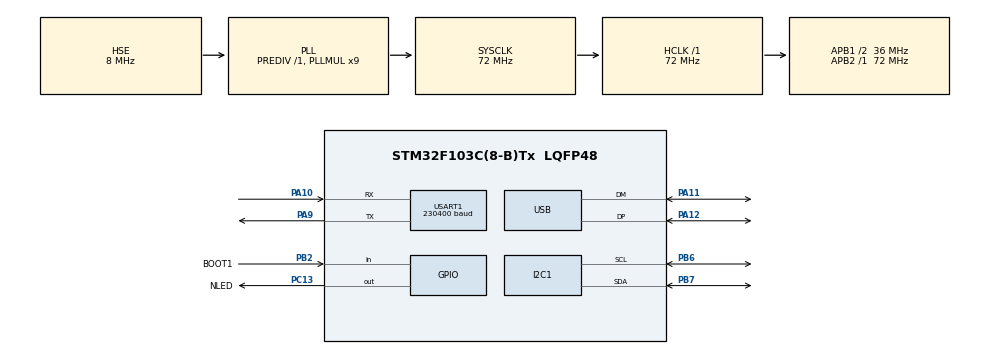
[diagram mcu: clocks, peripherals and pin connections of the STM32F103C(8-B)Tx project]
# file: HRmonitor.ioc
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I2C1.I2C_Mode=I2C_Fast
Mcu.Family=STM32F1
Mcu.Name=STM32F103C(8-B)Tx
Mcu.Package=LQFP48
NVIC.I2C1_ER_IRQn=true\:0\:0\:false\:false\:true\:true\:true
NVIC.I2C1_EV_IRQn=true\:0\:0\:false\:false\:true\:true\:true
NVIC.PriorityGroup=NVIC_PRIORITYGROUP_4
NVIC.TIM3_IRQn=true\:0\:0\:false\:false\:true\:true\:true
NVIC.USB_LP_CAN1_RX0_IRQn=true\:0\:0\:false\:false\:true\:false\:true
PA10.Mode=Asynchronous
PA10.Signal=USART1_RX
PA11.Mode=Device
PA11.Signal=USB_DM
PA12.Mode=Device
PA12.Signal=USB_DP
PA13.Mode=Serial_Wire
PA13.Signal=SYS_JTMS-SWDIO
PA14.Mode=Serial_Wire
PA14.Signal=SYS_JTCK-SWCLK
PA9.Mode=Asynchronous
PA9.Signal=USART1_TX
PB2.GPIO_Label=BOOT1
PB2.Signal=GPIO_Input
PB6.Mode=I2C
PB6.Signal=I2C1_SCL
PB7.Mode=I2C
PB7.Signal=I2C1_SDA
PC13-TAMPER-RTC.GPIO_Label=NLED
PC13-TAMPER-RTC.Signal=GPIO_Output
PD0-OSC_IN.Mode=HSE-External-Oscillator
PD0-OSC_IN.Signal=RCC_OSC_IN
PD1-OSC_OUT.Mode=HSE-External-Oscillator
PD1-OSC_OUT.Signal=RCC_OSC_OUT
ProjectManager.HeapSize=0x400
ProjectManager.StackSize=0x400
ProjectManager.TargetToolchain=Makefile
RCC.ADCPresc=RCC_ADCPCLK2_DIV6
RCC.AHBFreq_Value=72000000
RCC.APB1CLKDivider=RCC_HCLK_DIV2
RCC.APB1Freq_Value=36000000
RCC.APB1TimFreq_Value=72000000
RCC.APB2Freq_Value=72000000
RCC.APB2TimFreq_Value=72000000
RCC.HCLKFreq_Value=72000000
RCC.PLLMUL=RCC_PLL_MUL9
RCC.RCC_MCOSource=RCC_MCO1SOURCE_PLLCLK
RCC.SYSCLKFreq_VALUE=72000000
RCC.SYSCLKSource=RCC_SYSCLKSOURCE_PLLCLK
RCC.USBFreq_Value=48000000
RCC.USBPrescaler=RCC_USBCLKSOURCE_PLL_DIV1_5
TIM3.Period=599
TIM3.Prescaler=599
TIM3.TIM_MasterOutputTrigger=TIM_TRGO_UPDATE
USART1.BaudRate=230400
USART1.VirtualMode=VM_ASYNC
USB_DEVICE.CLASS_NAME_FS=CDC
USB_DEVICE.VirtualMode=Cdc
USB_DEVICE.VirtualModeFS=Cdc_FS
VP_CRC_VS_CRC.Mode=CRC_Activate
VP_TIM3_VS_ClockSourceINT.Mode=Internal
VP_USB_DEVICE_VS_USB_DEVICE_CDC_FS.Mode=CDC_FS
board=custom

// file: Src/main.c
/* USER CODE BEGIN Header */
/**
  ******************************************************************************
  * @file           : main.c
  * @brief          : Main program body
  ******************************************************************************
  * @attention
  *
  * <h2><center>&copy; Copyright (c) 2020 STMicroelectronics.
  * All rights reserved.</center></h2>
  *
  * This software component is licensed by ST under Ultimate Liberty license
  * SLA0044, the "License"; You may not use this file except in compliance with
  * the License. You may obtain a copy of the License at:
  *                             www.st.com/SLA0044
  *
  ******************************************************************************
  */
/* USER CODE END Header */

#include "main.h"
#include "crc.h"
#include "i2c.h"
#include "tim.h"
#include "usart.h"
#include "usb_device.h"
#include "gpio.h"

/* USER CODE BEGIN PV */
char textTxBuffer[500];
uint8_t rawMpu[14];
/* USER CODE END PV */

void SystemClock_Config(void);

int main(void)
{
    /* USER CODE BEGIN 1 */
    uint8_t mpuConfigTx, mpuConfigRx;
    /* USER CODE END 1 */

    /* MCU Configuration--------------------------------------------------------*/

    /* Reset of all peripherals, Initializes the Flash interface and the Systick. */
    HAL_Init();

    /* Configure the system clock */
    SystemClock_Config();

    /* Initialize all configured peripherals */
    MX_GPIO_Init();
    MX_CRC_Init();
    MX_USB_DEVICE_Init();
    MX_I2C1_Init();
    MX_USART1_UART_Init();
    MX_TIM3_Init();
    /* USER CODE BEGIN 2 */

    sprintf(textTxBuffer, "HRmonitor USART1 test\r");
    HAL_UART_Transmit(&huart1, (uint8_t *)textTxBuffer, strlen(textTxBuffer), 500);

    mpuConfigTx = 0b00000000;
    HAL_I2C_Mem_Write(&hi2c1, 0xD0, 0x6B, I2C_MEMADD_SIZE_8BIT, &mpuConfigTx, 1, 100);

    HAL_I2C_Mem_Read(&hi2c1, 0xD0, 0x75, I2C_MEMADD_SIZE_8BIT, &mpuConfigRx, 1, 100);
    // sprintf(txBuffer, "Slave Address: %x \r", mpuConfigRx);
    // HAL_UART_Transmit(&huart1, (uint8_t *)txBuffer, strlen(txBuffer), 500);

    HAL_I2C_Mem_Read(&hi2c1, 0xD0, 0x1A, I2C_MEMADD_SIZE_8BIT, &mpuConfigRx, 1, 100);
    // sprintf(txBuffer, "FIFO config: %x \r", mpuConfigRx);
    // HAL_UART_Transmit(&huart1, (uint8_t *)txBuffer, strlen(txBuffer), 500);

    mpuConfigTx = 0b00001000;
    HAL_I2C_Mem_Write(&hi2c1, 0xD0, 0x1B, I2C_MEMADD_SIZE_8BIT, &mpuConfigTx, 1, 100);
    HAL_I2C_Mem_Read(&hi2c1, 0xD0, 0x1B, I2C_MEMADD_SIZE_8BIT, &mpuConfigRx, 1, 100);
    // sprintf(txBuffer, "Gyr cfig: %x \r", mpuConfigRx);
    // HAL_UART_Transmit(&huart1, (uint8_t *)txBuffer, strlen(txBuffer), 500);

    mpuConfigTx = 0b00011000;
    HAL_I2C_Mem_Write(&hi2c1, 0xD0, 0x1C, I2C_MEMADD_SIZE_8BIT, &mpuConfigTx, 1, 100);
    HAL_I2C_Mem_Read(&hi2c1, 0xD0, 0x1C, I2C_MEMADD_SIZE_8BIT, &mpuConfigRx, 1, 100);
    // sprintf(txBuffer, "Acc cfig: %x \r", mpuConfigRx);
    // HAL_UART_Transmit(&huart1, (uint8_t *)txBuffer, strlen(txBuffer), 500);

    HAL_TIM_Base_Start_IT(&htim3);

    /* USER CODE END 2 */

    /* Infinite loop */
    while (1)
    {

    }
}

void SystemClock_Config(void)
{
    RCC_OscInitTypeDef RCC_OscInitStruct = {0};
    RCC_ClkInitTypeDef RCC_ClkInitStruct = {0};
    RCC_PeriphCLKInitTypeDef PeriphClkInit = {0};

    /** Initializes the CPU, AHB and APB busses clocks
    */
    RCC_OscInitStruct.OscillatorType = RCC_OSCILLATORTYPE_HSE;
    RCC_OscInitStruct.HSEState = RCC_HSE_ON;
    RCC_OscInitStruct.HSEPredivValue = RCC_HSE_PREDIV_DIV1;
    RCC_OscInitStruct.HSIState = RCC_HSI_ON;
    RCC_OscInitStruct.PLL.PLLState = RCC_PLL_ON;
    RCC_OscInitStruct.PLL.PLLSource = RCC_PLLSOURCE_HSE;
    RCC_OscInitStruct.PLL.PLLMUL = RCC_PLL_MUL9;
    if (HAL_RCC_OscConfig(&RCC_OscInitStruct) != HAL_OK)
    {
        Error_Handler();
    }
    /** Initializes the CPU, AHB and APB busses clocks
    */
    RCC_ClkInitStruct.ClockType = RCC_CLOCKTYPE_HCLK|RCC_CLOCKTYPE_SYSCLK
                                  |RCC_CLOCKTYPE_PCLK1|RCC_CLOCKTYPE_PCLK2;
    RCC_ClkInitStruct.SYSCLKSource = RCC_SYSCLKSOURCE_PLLCLK;
    RCC_ClkInitStruct.AHBCLKDivider = RCC_SYSCLK_DIV1;
    RCC_ClkInitStruct.APB1CLKDivider = RCC_HCLK_DIV2;
    RCC_ClkInitStruct.APB2CLKDivider = RCC_HCLK_DIV1;

    if (HAL_RCC_ClockConfig(&RCC_ClkInitStruct, FLASH_LATENCY_2) != HAL_OK)
    {
        Error_Handler();
    }
    PeriphClkInit.PeriphClockSelection = RCC_PERIPHCLK_USB;
    PeriphClkInit.UsbClockSelection = RCC_USBCLKSOURCE_PLL_DIV1_5;
    if (HAL_RCCEx_PeriphCLKConfig(&PeriphClkInit) != HAL_OK)
    {
        Error_Handler();
    }
}

/* USER CODE BEGIN 4 */
void HAL_TIM_PeriodElapsedCallback(TIM_HandleTypeDef *htim)
{
    HAL_I2C_Mem_Read_IT(&hi2c1, 0xD0, 0x3B, I2C_MEMADD_SIZE_8BIT, rawMpu, 2);
    // static uint32_t i;
    // if (i==10) {
    //     HAL_I2C_Mem_Read_IT(&hi2c1, 0xD0, 0x3B, I2C_MEMADD_SIZE_8BIT, rawMpu, 14);

    //     // static uint32_t n;
    //     // n++;
    //     // sprintf(textTxBuffer, "%05d\r\n", n);
    //     // HAL_UART_Transmit(&huart1, (uint8_t *)textTxBuffer, strlen(textTxBuffer), 500);
    //     i=0;
    // }
    // i++;
}

void HAL_I2C_MemRxCpltCallback(I2C_HandleTypeDef *hi2c)
{
    // static uint32_t seconds, millis;

    // millis = millis + 5;
    // if(millis == 1000) {
    //     millis =0;
    //     seconds++;
    // }

    uint32_t xAcc = (rawMpu[0] << 8) | (0x00F0 & rawMpu[1]);
    // uint32_t yAcc = (rawMpu[2] << 8) | (0x00F0 & rawMpu[3]);
    // uint32_t zAcc = (rawMpu[4] << 8) | (0x00F0 & rawMpu[5]);
    // uint32_t xGyr = (rawMpu[8] << 8) | (0x00FF & rawMpu[9]);
    // uint32_t yGyr = (rawMpu[10] << 8) | (0x00FF & rawMpu[11]);
    // uint32_t zGyr = (rawMpu[12] << 8) | (0x00FF & rawMpu[13]);

    sprintf(textTxBuffer, "%06hd\r", xAcc);
    HAL_UART_Transmit(&huart1, (uint8_t *)textTxBuffer, strlen(textTxBuffer), 500);
    static uint8_t count;
    if (count == 100) {
        HAL_GPIO_TogglePin(GPIOC, GPIO_PIN_13);
        count=0;
    }
    count++;
}

/* USER CODE END 4 */

void Error_Handler(void)
{
}

/************************ (C) COPYRIGHT STMicroelectronics *****END OF FILE****/
